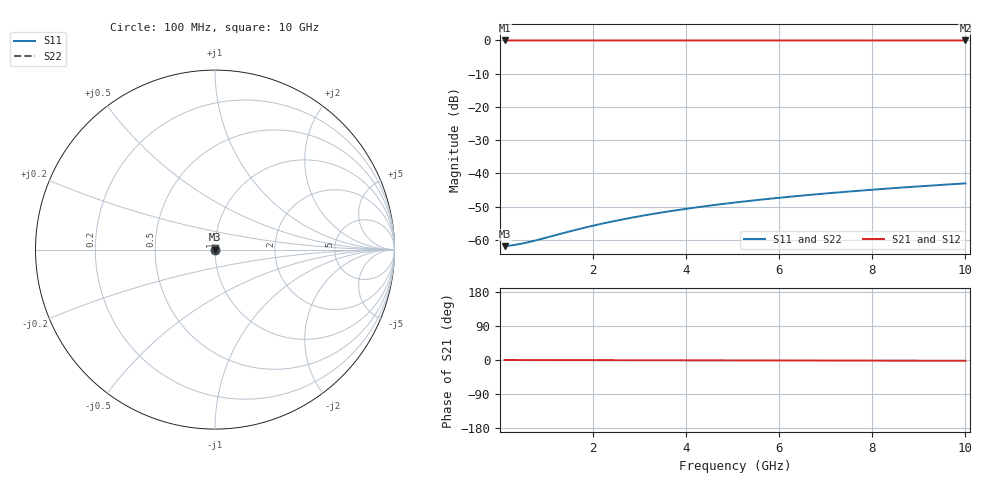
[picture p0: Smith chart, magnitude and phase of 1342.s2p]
# Hz S RI R 50.00
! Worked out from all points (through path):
!   100 points, 100 MHz to 10 GHz, reference 50 ohm
!   highest |S21| = -0.01 dB at 100 MHz (marker M1); lowest = 0.0 dB at 10 GHz (marker M2)
!   lowest |S11| = -61.9 dB at 100 MHz (marker M3), VSWR 1.00, Z = 50.1 + j0.00702 ohm
!   |S11| at or under -10 dB: start of sweep to end of sweep
!   |S22| runs from -61.9 to -43.0 dB; largest |S21 - S12| = 0
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1e8  0.000805 7.01e-05  0.9992 -0.000355  0.9992 -0.000355  0.000805 7.01e-05
2e8  0.00081 0.00014  0.9992 -0.000711  0.9992 -0.000711  0.00081 0.00014
3e8  0.000814 0.00021  0.9992 -0.00107  0.9992 -0.00107  0.000814 0.00021
4e8  0.000817 0.000281  0.9992 -0.00142  0.9992 -0.00142  0.000817 0.000281
6e8  0.000823 0.000421  0.9992 -0.00213  0.9992 -0.00213  0.000823 0.000421
8e8  0.000827 0.000561  0.9992 -0.00284  0.9992 -0.00284  0.000827 0.000561
1.4e9  0.000839 0.000982  0.9991 -0.00498  0.9991 -0.00498  0.000839 0.000982
1.8e9  0.000847 0.00126  0.9991 -0.0064  0.9991 -0.0064  0.000847 0.00126
2.2e9  0.000855 0.00154  0.9991 -0.00782  0.9991 -0.00782  0.000855 0.00154
2.6e9  0.000864 0.00182  0.9991 -0.00924  0.9991 -0.00924  0.000864 0.00182
3e9  0.000873 0.0021  0.9991 -0.0107  0.9991 -0.0107  0.000873 0.0021
3.4e9  0.000882 0.00238  0.9991 -0.0121  0.9991 -0.0121  0.000882 0.00238
3.8e9  0.000892 0.00266  0.999 -0.0135  0.999 -0.0135  0.000892 0.00266
4.2e9  0.000903 0.00294  0.999 -0.0149  0.999 -0.0149  0.000903 0.00294
4.6e9  0.000915 0.00322  0.999 -0.0164  0.999 -0.0164  0.000915 0.00322
5.1e9  0.00093 0.00357  0.9989 -0.0181  0.9989 -0.0181  0.00093 0.00357
5.9e9  0.000957 0.00413  0.9989 -0.021  0.9989 -0.021  0.000957 0.00413
6.7e9  0.000988 0.00469  0.9988 -0.0238  0.9988 -0.0238  0.000988 0.00469
7.5e9  0.00102 0.00525  0.9987 -0.0267  0.9987 -0.0267  0.00102 0.00525
8.4e9  0.00106 0.00588  0.9986 -0.0299  0.9986 -0.0299  0.00106 0.00588
9.2e9  0.0011 0.00644  0.9985 -0.0327  0.9985 -0.0327  0.0011 0.00644
1e10  0.00115 0.007  0.9984 -0.0356  0.9984 -0.0356  0.00115 0.007
